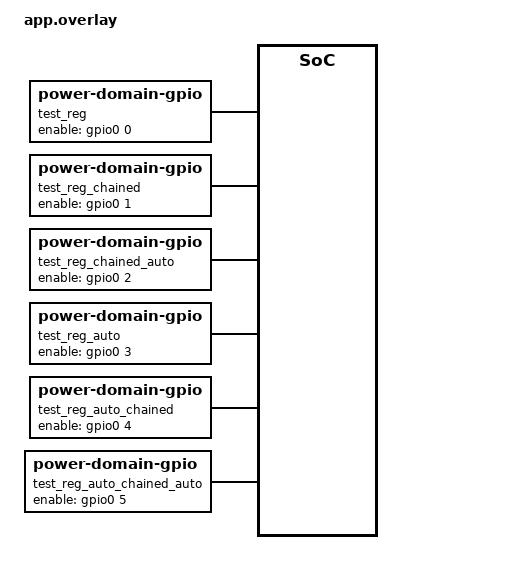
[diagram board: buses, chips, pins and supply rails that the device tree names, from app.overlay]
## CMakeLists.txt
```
# Copyright (c) 2023, CSIRO.
# SPDX-License-Identifier: Apache-2.0

cmake_minimum_required(VERSION 3.20.0)
find_package(Zephyr REQUIRED HINTS $ENV{ZEPHYR_BASE})
project(device_driver_init)

target_sources(app PRIVATE src/main.c)
```

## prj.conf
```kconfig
# Copyright (c) 2023, Commonwealth Scientific and Industrial Research
# Organisation (CSIRO) ABN 41 687 119 230.
CONFIG_ZTEST=y
CONFIG_MP_MAX_NUM_CPUS=1

CONFIG_GPIO=y
CONFIG_GPIO_GET_CONFIG=y
CONFIG_POWER_DOMAIN=y
```

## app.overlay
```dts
/ {
	test_reg: test_reg {
		compatible = "power-domain-gpio";
		enable-gpios = <&gpio0 0 0>;
	};

	test_reg_chained: test_reg_chained {
		compatible = "power-domain-gpio";
		enable-gpios = <&gpio0 1 0>;
		power-domain = <&test_reg>;
	};

	test_reg_chained_auto: test_reg_chained_auto {
		compatible = "power-domain-gpio";
		enable-gpios = <&gpio0 2 0>;
		power-domain = <&test_reg>;
		zephyr,pm-device-runtime-auto;
	};

	test_reg_auto: test_reg_auto {
		compatible = "power-domain-gpio";
		enable-gpios = <&gpio0 3 0>;
		zephyr,pm-device-runtime-auto;
	};

	test_reg_auto_chained: test_reg_auto_chained {
		compatible = "power-domain-gpio";
		enable-gpios = <&gpio0 4 0>;
		power-domain = <&test_reg_auto>;
	};

	test_reg_auto_chained_auto: test_reg_auto_chained_auto {
		compatible = "power-domain-gpio";
		enable-gpios = <&gpio0 5 0>;
		power-domain = <&test_reg_auto>;
		zephyr,pm-device-runtime-auto;
	};

	test_reg_disabled: test_reg_disabled {
		compatible = "power-domain-gpio";
		enable-gpios = <&gpio0 6 0>;
		status = "disabled";
	};
};
```

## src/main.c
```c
/*
 * Copyright (c) 2023, Commonwealth Scientific and Industrial Research
 * Organisation (CSIRO) ABN 41 687 119 230.
 *
 * SPDX-License-Identifier: Apache-2.0
 *
 * State checking in this test is done via the GPIO state instead of
 * the PM API as this test runs without the PM api enabled.
 */

#include <zephyr/ztest.h>
#include <zephyr/drivers/gpio.h>
#include <zephyr/pm/device.h>
#include <zephyr/pm/device_runtime.h>

#define POWER_GPIO_CONFIG_IS(node_id, config)\
	{\
		const struct gpio_dt_spec gpio = GPIO_DT_SPEC_GET(node_id, enable_gpios);\
		gpio_flags_t gpio_config; \
		int gpio_ret = gpio_pin_get_config_dt(&gpio, &gpio_config); \
		zassert_equal(gpio_ret, 0, "GPIO config retrieval failed"); \
		zassert_equal(gpio_config, config, "Unexpected config");\
	}

#define DEVICE_STATE_IS(node_id, value) \
	rc = pm_device_state_get(DEVICE_DT_GET(node_id), &state); \
	zassert_equal(rc, 0, "Device state retrieval failed"); \
	zassert_equal(state, value, "Unexpected device state");

ZTEST(device_driver_init, test_device_driver_init)
{
#if defined(CONFIG_PM_DEVICE_RUNTIME)
	enum pm_device_state state;
	int rc;
	state = -1;
	zassert_str_equal("", pm_device_state_str(state),
			  "Invalid device state");
	/* No device runtime PM, starts on */
	DEVICE_STATE_IS(DT_NODELABEL(test_reg), PM_DEVICE_STATE_ACTIVE);
	DEVICE_STATE_IS(DT_NODELABEL(test_reg_chained), PM_DEVICE_STATE_ACTIVE);
	POWER_GPIO_CONFIG_IS(DT_NODELABEL(test_reg), GPIO_OUTPUT_HIGH);
	POWER_GPIO_CONFIG_IS(DT_NODELABEL(test_reg_chained), GPIO_OUTPUT_HIGH);
	zassert_str_equal("active", pm_device_state_str(state),
			  "Invalid device state");
	/* Device powered, zephyr,pm-device-runtime-auto, starts suspended */
	DEVICE_STATE_IS(DT_NODELABEL(test_reg_chained_auto), PM_DEVICE_STATE_SUSPENDED);
	DEVICE_STATE_IS(DT_NODELABEL(test_reg_auto), PM_DEVICE_STATE_SUSPENDED);
	POWER_GPIO_CONFIG_IS(DT_NODELABEL(test_reg_chained_auto), GPIO_OUTPUT_LOW);
	POWER_GPIO_CONFIG_IS(DT_NODELABEL(test_reg_auto), GPIO_OUTPUT_LOW);
	zassert_str_equal("suspended", pm_device_state_str(state),
			  "Invalid device state");
	/* Device not powered, starts off */
	DEVICE_STATE_IS(DT_NODELABEL(test_reg_auto_chained), PM_DEVICE_STATE_OFF);
	DEVICE_STATE_IS(DT_NODELABEL(test_reg_auto_chained_auto), PM_DEVICE_STATE_OFF);
	POWER_GPIO_CONFIG_IS(DT_NODELABEL(test_reg_auto_chained), GPIO_DISCONNECTED);
	POWER_GPIO_CONFIG_IS(DT_NODELABEL(test_reg_auto_chained_auto), GPIO_DISCONNECTED);
	zassert_str_equal("off", pm_device_state_str(state),
			  "Invalid device state");
#else
	/* Every regulator should be in "active" mode automatically.
	 * State checking via GPIO as PM API is disabled.
	 */
	POWER_GPIO_CONFIG_IS(DT_NODELABEL(test_reg), GPIO_OUTPUT_HIGH);
	POWER_GPIO_CONFIG_IS(DT_NODELABEL(test_reg_chained), GPIO_OUTPUT_HIGH);
	POWER_GPIO_CONFIG_IS(DT_NODELABEL(test_reg_chained_auto), GPIO_OUTPUT_HIGH);
	POWER_GPIO_CONFIG_IS(DT_NODELABEL(test_reg_auto), GPIO_OUTPUT_HIGH);
	POWER_GPIO_CONFIG_IS(DT_NODELABEL(test_reg_auto_chained), GPIO_OUTPUT_HIGH);
	POWER_GPIO_CONFIG_IS(DT_NODELABEL(test_reg_auto_chained_auto), GPIO_OUTPUT_HIGH);
	POWER_GPIO_CONFIG_IS(DT_NODELABEL(test_reg_disabled), GPIO_DISCONNECTED);
#endif
}

ZTEST_SUITE(device_driver_init, NULL, NULL, NULL, NULL, NULL);
```
